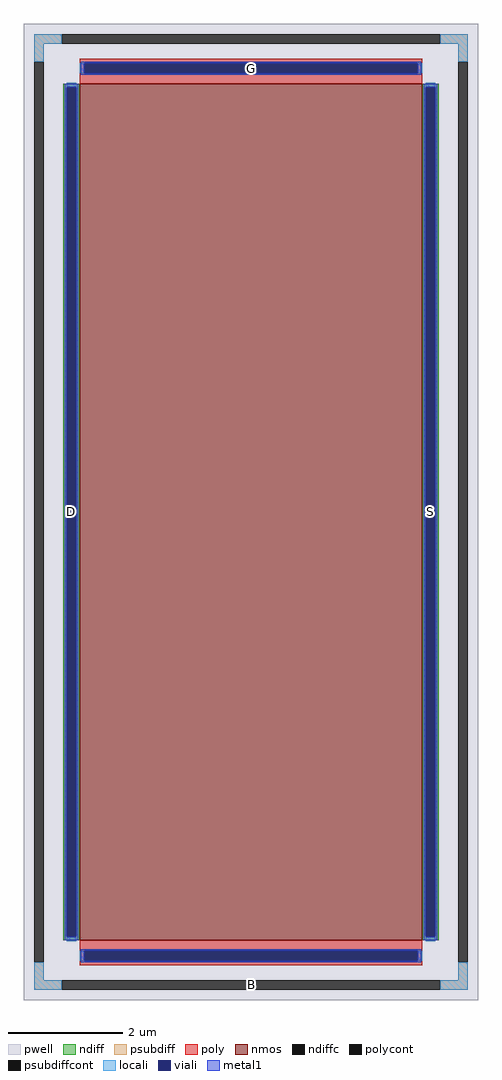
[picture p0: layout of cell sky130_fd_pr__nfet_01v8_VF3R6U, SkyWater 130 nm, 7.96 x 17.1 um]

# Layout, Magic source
magic
tech sky130A
magscale 1 2
<< pwell >>
rect -796 -1710 796 1710
<< nmos >>
rect -600 -1500 600 1500
<< ndiff >>
rect -658 1488 -600 1500
rect -658 -1488 -646 1488
rect -612 -1488 -600 1488
rect -658 -1500 -600 -1488
rect 600 1488 658 1500
rect 600 -1488 612 1488
rect 646 -1488 658 1488
rect 600 -1500 658 -1488
<< ndiffc >>
rect -646 -1488 -612 1488
rect 612 -1488 646 1488
<< psubdiff >>
rect -760 1640 -664 1674
rect 664 1640 760 1674
rect -760 1578 -726 1640
rect 726 1578 760 1640
rect -760 -1640 -726 -1578
rect 726 -1640 760 -1578
rect -760 -1674 -664 -1640
rect 664 -1674 760 -1640
<< psubdiffcont >>
rect -664 1640 664 1674
rect -760 -1578 -726 1578
rect 726 -1578 760 1578
rect -664 -1674 664 -1640
<< poly >>
rect -600 1572 600 1588
rect -600 1538 -584 1572
rect 584 1538 600 1572
rect -600 1500 600 1538
rect -600 -1538 600 -1500
rect -600 -1572 -584 -1538
rect 584 -1572 600 -1538
rect -600 -1588 600 -1572
<< polycont >>
rect -584 1538 584 1572
rect -584 -1572 584 -1538
<< locali >>
rect -760 1640 -664 1674
rect 664 1640 760 1674
rect -760 1578 -726 1640
rect 726 1578 760 1640
rect -600 1538 -584 1572
rect 584 1538 600 1572
rect -646 1488 -612 1504
rect -646 -1504 -612 -1488
rect 612 1488 646 1504
rect 612 -1504 646 -1488
rect -600 -1572 -584 -1538
rect 584 -1572 600 -1538
rect -760 -1640 -726 -1578
rect 726 -1640 760 -1578
rect -760 -1674 -664 -1640
rect 664 -1674 760 -1640
<< viali >>
rect -584 1538 584 1572
rect -646 -1488 -612 1488
rect 612 -1488 646 1488
rect -584 -1572 584 -1538
<< metal1 >>
rect -596 1572 596 1578
rect -596 1538 -584 1572
rect 584 1538 596 1572
rect -596 1532 596 1538
rect -652 1488 -606 1500
rect -652 -1488 -646 1488
rect -612 -1488 -606 1488
rect -652 -1500 -606 -1488
rect 606 1488 652 1500
rect 606 -1488 612 1488
rect 646 -1488 652 1488
rect 606 -1500 652 -1488
rect -596 -1538 596 -1532
rect -596 -1572 -584 -1538
rect 584 -1572 596 -1538
rect -596 -1578 596 -1572
<< labels >>
rlabel psubdiffcont 0 -1657 0 -1657 0 B
port 1 nsew
rlabel ndiffc -629 0 -629 0 0 D
port 2 nsew
rlabel ndiffc 629 0 629 0 0 S
port 3 nsew
rlabel polycont 0 1555 0 1555 0 G
port 4 nsew
<< properties >>
string FIXED_BBOX -743 -1657 743 1657
string gencell sky130_fd_pr__nfet_01v8
string library sky130
string parameters w 15.0 l 6.0 m 1 nf 1 diffcov 100 polycov 100 guard 1 glc 1 grc 1 gtc 1 gbc 1 tbcov 100 rlcov 100 topc 1 botc 1 poverlap 0 doverlap 1 lmin 0.15 wmin 0.42 class mosfet compatible {sky130_fd_pr__nfet_01v8 sky130_fd_pr__nfet_01v8_lvt  sky130_fd_bs_flash__special_sonosfet_star  sky130_fd_pr__nfet_g5v0d10v5 sky130_fd_pr__nfet_05v0_nvt  sky130_fd_pr__nfet_03v3_nvt} full_metal 1 conn_gates 0 viasrc 100 viadrn 100 viagate 100 viagb 0 viagr 0 viagl 0 viagt 0 doports 1 ad 4.35 as 4.35 pd 30.58 ps 30.58 nrd 0.0193333333333333 nrs 0.0193333333333333 sa 0 sb 0 sd 0 mult 1
<< end >>
